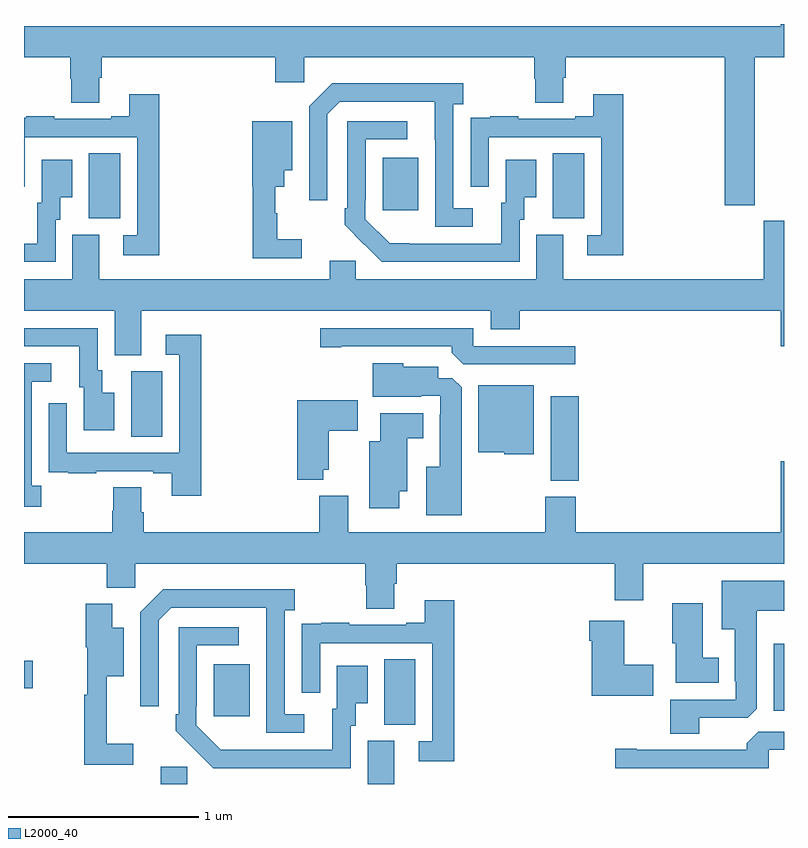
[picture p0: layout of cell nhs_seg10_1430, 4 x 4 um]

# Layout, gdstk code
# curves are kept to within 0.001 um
import gdstk
lib = gdstk.Library(unit=1e-6, precision=1e-09)
def R(c, l, rs):  # rectangles x0, y0, x1, y1
    for r in rs: c.add(gdstk.rectangle(r[:2], r[2:], *l))
def P(c, l, *ps):  # polygons
    for p in ps: c.add(gdstk.Polygon(p, *l))
L2000_40 = (2000, 40)

nhs_seg10_1430 = lib.new_cell('nhs_seg10_1430')
R(nhs_seg10_1430, L2000_40, [(185.72,1288.5,185.859,1288.59), (186.809,1288.5,186.949,1288.728), (186.896,1288.813,187.06,1289.156), (185.999,1288.857,186.187,1289.131), (188.945,1288.886,189,1289.239), (185,1289.003,185.047,1289.15), (187.772,1290.097,187.919,1290.541), (185.564,1290.328,185.728,1290.672), (185.342,1291.477,185.506,1291.82), (187.784,1291.477,187.948,1291.82), (186.887,1291.521,187.075,1291.795)])
P(nhs_seg10_1430, L2000_40, [(188.847,1292.324),(189,1292.324),(189,1292.5),(188.984,1292.5),(188.984,1292.488),(185,1292.488),(185,1292.324),(185.243,1292.324),(185.243,1292.211),(185.248,1292.211),(185.248,1292.086),(185.395,1292.086),(185.395,1292.218),(185.408,1292.218),(185.408,1292.324),(186.323,1292.324),(186.323,1292.193),(186.474,1292.193),(186.474,1292.324),(187.685,1292.324),(187.685,1292.211),(187.69,1292.211),(187.69,1292.086),(187.837,1292.086),(187.837,1292.218),(187.85,1292.218),(187.85,1292.324),(188.687,1292.324),(188.687,1291.545),(188.847,1291.545)],
  [(187.363,1291.53),(187.26,1291.53),(187.26,1292.078),(187.312,1292.078),(187.312,1292.188),(186.622,1292.188),(186.501,1292.067),(186.501,1291.572),(186.597,1291.572),(186.597,1292.025),(186.663,1292.091),(187.163,1292.091),(187.164,1291.434),(187.363,1291.434)],
  [(188.153,1292.131),(187.997,1292.131),(187.997,1292.014),(187.901,1292.014),(187.901,1292.001),(187.601,1292.001),(187.601,1292.014),(187.453,1292.014),(187.453,1292.007),(187.351,1292.007),(187.351,1291.898),(187.35,1291.898),(187.35,1291.644),(187.446,1291.644),(187.446,1291.905),(188.037,1291.905),(188.037,1291.389),(187.965,1291.389),(187.965,1291.284),(188.153,1291.284)],
  [(185.711,1292.131),(185.555,1292.131),(185.555,1292.014),(185.459,1292.014),(185.459,1292.001),(185.159,1292.001),(185.159,1292.014),(185.011,1292.014),(185.011,1292.007),(185,1292.007),(185,1291.644),(185.004,1291.644),(185.004,1291.905),(185.595,1291.905),(185.595,1291.389),(185.523,1291.389),(185.523,1291.284),(185.711,1291.284)],
  [(187.608,1291.47),(187.633,1291.47),(187.633,1291.589),(187.696,1291.589),(187.696,1291.786),(187.535,1291.786),(187.535,1291.56),(187.511,1291.56),(187.511,1291.344),(186.924,1291.345),(186.795,1291.473),(186.795,1291.573),(186.798,1291.573),(186.798,1291.893),(187.018,1291.893),(187.018,1291.989),(186.702,1291.989),(186.702,1291.531),(186.687,1291.531),(186.687,1291.443),(186.884,1291.248),(187.608,1291.248)],
  [(186.463,1291.367),(186.334,1291.367),(186.334,1291.503),(186.323,1291.503),(186.323,1291.643),(186.37,1291.643),(186.37,1291.73),(186.412,1291.73),(186.412,1291.987),(186.2,1291.987),(186.2,1291.647),(186.205,1291.647),(186.205,1291.266),(186.463,1291.266)],
  [(185.166,1291.47),(185.191,1291.47),(185.191,1291.589),(185.254,1291.589),(185.254,1291.786),(185.093,1291.786),(185.093,1291.56),(185.069,1291.56),(185.069,1291.344),(185,1291.344),(185,1291.248),(185.166,1291.248)],
  [(186.747,1291.254),(186.608,1291.254),(186.608,1291.156),(185.395,1291.156),(185.395,1291.392),(185.255,1291.392),(185.255,1291.156),(185,1291.156),(185,1290.992),(185.477,1290.992),(185.477,1290.757),(185.617,1290.757),(185.617,1290.992),(187.457,1290.992),(187.457,1290.893),(187.61,1290.893),(187.61,1290.992),(188.984,1290.992),(188.984,1290.804),(189,1290.804),(189,1291.465),(188.894,1291.465),(188.894,1291.156),(187.837,1291.156),(187.837,1291.392),(187.697,1291.392),(187.697,1291.156),(186.747,1291.156)],
  [(187.9,1290.804),(187.365,1290.804),(187.365,1290.9),(186.558,1290.9),(186.558,1290.799),(186.67,1290.799),(186.67,1290.804),(187.25,1290.804),(187.25,1290.77),(187.311,1290.708),(187.9,1290.708)],
  [(185.476,1290.559),(185.413,1290.559),(185.413,1290.678),(185.388,1290.678),(185.388,1290.9),(185,1290.9),(185,1290.804),(185.291,1290.804),(185.291,1290.588),(185.315,1290.588),(185.315,1290.363),(185.476,1290.363)],
  [(185.933,1290.865),(185.745,1290.865),(185.745,1290.759),(185.817,1290.759),(185.817,1290.243),(185.226,1290.243),(185.226,1290.505),(185.13,1290.505),(185.13,1290.25),(185.131,1290.25),(185.131,1290.141),(185.233,1290.141),(185.233,1290.135),(185.381,1290.135),(185.381,1290.147),(185.681,1290.147),(185.681,1290.135),(185.777,1290.135),(185.777,1290.018),(185.933,1290.018)],
  [(187.303,1290.587),(187.254,1290.636),(187.18,1290.636),(187.18,1290.697),(186.996,1290.697),(186.996,1290.715),(186.836,1290.715),(186.836,1290.539),(187.091,1290.539),(187.091,1290.543),(187.191,1290.543),(187.191,1290.443),(187.187,1290.443),(187.187,1290.169),(187.118,1290.169),(187.118,1289.915),(187.303,1289.915)],
  [(185.092,1290.07),(185.04,1290.07),(185.04,1290.618),(185.143,1290.618),(185.143,1290.714),(185,1290.714),(185,1289.96),(185.092,1289.96)],
  [(187.684,1290.598),(187.391,1290.598),(187.391,1290.245),(187.527,1290.245),(187.527,1290.236),(187.684,1290.236)],
  [(186.574,1290.155),(186.604,1290.155),(186.604,1290.358),(186.757,1290.358),(186.757,1290.52),(186.437,1290.52),(186.437,1290.101),(186.574,1290.101)],
  [(186.976,1290.041),(187.018,1290.041),(187.018,1290.32),(187.102,1290.32),(187.102,1290.451),(186.875,1290.451),(186.875,1290.304),(186.818,1290.304),(186.818,1289.952),(186.976,1289.952)],
  [(186.949,1289.554),(186.962,1289.554),(186.962,1289.66),(188.108,1289.66),(188.108,1289.466),(188.26,1289.466),(188.26,1289.66),(189,1289.66),(189,1290.199),(188.984,1290.199),(188.984,1289.824),(187.904,1289.824),(187.904,1290.012),(187.744,1290.012),(187.744,1289.824),(186.706,1289.824),(186.706,1290.016),(186.554,1290.016),(186.554,1289.824),(185.63,1289.824),(185.63,1289.93),(185.617,1289.93),(185.617,1290.062),(185.47,1290.062),(185.47,1289.937),(185.465,1289.937),(185.465,1289.824),(185,1289.824),(185,1289.66),(185.435,1289.66),(185.435,1289.534),(185.586,1289.534),(185.586,1289.66),(186.797,1289.66),(186.797,1289.547),(186.802,1289.547),(186.802,1289.422),(186.949,1289.422)],
  [(188.554,1288.848),(188.808,1288.848),(188.857,1288.897),(188.857,1289.411),(189,1289.411),(189,1289.569),(188.672,1289.569),(188.672,1289.315),(188.741,1289.315),(188.741,1289.041),(188.745,1289.041),(188.745,1288.944),(188.402,1288.944),(188.402,1288.765),(188.554,1288.765)],
  [(186.475,1288.866),(186.372,1288.866),(186.372,1289.414),(186.424,1289.414),(186.424,1289.524),(185.734,1289.524),(185.613,1289.403),(185.613,1288.908),(185.709,1288.908),(185.709,1289.361),(185.775,1289.427),(186.275,1289.427),(186.276,1288.77),(186.475,1288.77)],
  [(187.265,1289.467),(187.109,1289.467),(187.109,1289.35),(187.013,1289.35),(187.013,1289.337),(186.713,1289.337),(186.713,1289.35),(186.565,1289.35),(186.565,1289.343),(186.463,1289.343),(186.463,1289.234),(186.462,1289.234),(186.462,1288.98),(186.558,1288.98),(186.558,1289.241),(187.149,1289.241),(187.149,1288.725),(187.077,1288.725),(187.077,1288.62),(187.265,1288.62)],
  [(188.656,1289.164),(188.572,1289.164),(188.572,1289.452),(188.411,1289.452),(188.411,1289.241),(188.429,1289.241),(188.429,1289.033),(188.656,1289.033)],
  [(185.575,1288.711),(185.435,1288.711),(185.435,1289.066),(185.524,1289.066),(185.524,1289.323),(185.464,1289.323),(185.464,1289.449),(185.324,1289.449),(185.324,1289.219),(185.332,1289.219),(185.332,1288.97),(185.317,1288.97),(185.317,1288.602),(185.575,1288.602)],
  [(188.311,1289.127),(188.158,1289.127),(188.158,1289.359),(187.976,1289.359),(187.976,1289.255),(187.988,1289.255),(187.988,1288.964),(188.311,1288.964)],
  [(186.72,1288.806),(186.745,1288.806),(186.745,1288.925),(186.808,1288.925),(186.808,1289.122),(186.647,1289.122),(186.647,1288.896),(186.623,1288.896),(186.623,1288.68),(186.036,1288.681),(185.907,1288.809),(185.907,1288.909),(185.91,1288.909),(185.91,1289.229),(186.13,1289.229),(186.13,1289.325),(185.814,1289.325),(185.814,1288.867),(185.799,1288.867),(185.799,1288.779),(185.996,1288.584),(186.72,1288.584)],
  [(188.919,1288.68),(189,1288.68),(189,1288.776),(188.865,1288.776),(188.804,1288.714),(188.804,1288.68),(188.224,1288.68),(188.224,1288.685),(188.112,1288.685),(188.112,1288.584),(188.919,1288.584)])

lib.write_gds('nhs_seg10_1430.gds')
